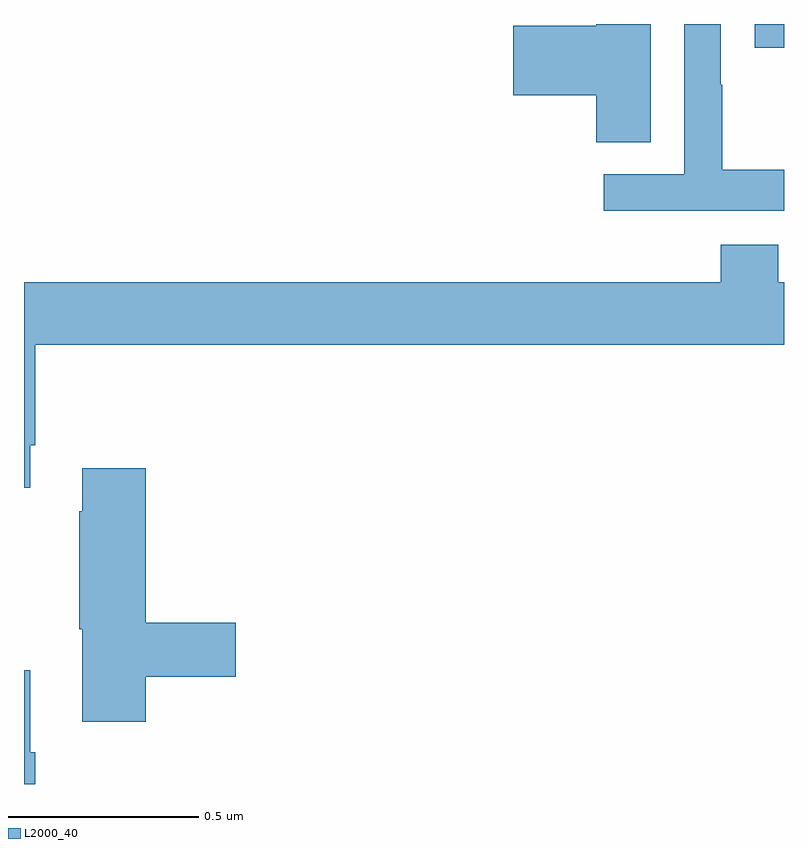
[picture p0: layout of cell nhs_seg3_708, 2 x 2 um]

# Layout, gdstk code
import gdstk
lib = gdstk.Library(unit=1e-6, precision=1e-09)
def R(c, l, rs):  # rectangles x0, y0, x1, y1
    for r in rs: c.add(gdstk.rectangle(r[:2], r[2:], *l))
def P(c, l, *ps):  # polygons
    for p in ps: c.add(gdstk.Polygon(p, *l))
L2000_40 = (2000, 40)

nhs_seg3_708 = lib.new_cell('nhs_seg3_708')
R(nhs_seg3_708, L2000_40, [(120.923,728.337,121,728.4)])
P(nhs_seg3_708, L2000_40, [(120.649,728.4),(120.506,728.4),(120.506,728.396),(120.288,728.396),(120.288,728.213),(120.506,728.213),(120.506,728.089),(120.649,728.089)],
  [(121,728.017),(120.837,728.017),(120.837,728.24),(120.834,728.24),(120.834,728.4),(120.738,728.4),(120.738,728.004),(120.525,728.004),(120.525,727.908),(121,727.908)],
  [(119.017,727.291),(119.03,727.291),(119.03,727.556),(121,727.556),(121,727.72),(120.985,727.72),(120.985,727.819),(120.833,727.819),(120.833,727.72),(119,727.72),(119,727.179),(119.017,727.179)],
  [(119.321,726.682),(119.557,726.682),(119.557,726.824),(119.321,726.824),(119.321,727.231),(119.153,727.231),(119.153,727.118),(119.146,727.118),(119.146,726.807),(119.153,726.807),(119.153,726.564),(119.321,726.564)],
  [(119.03,726.484),(119.017,726.484),(119.017,726.7),(119,726.7),(119,726.4),(119.03,726.4)])

lib.write_gds('nhs_seg3_708.gds')
